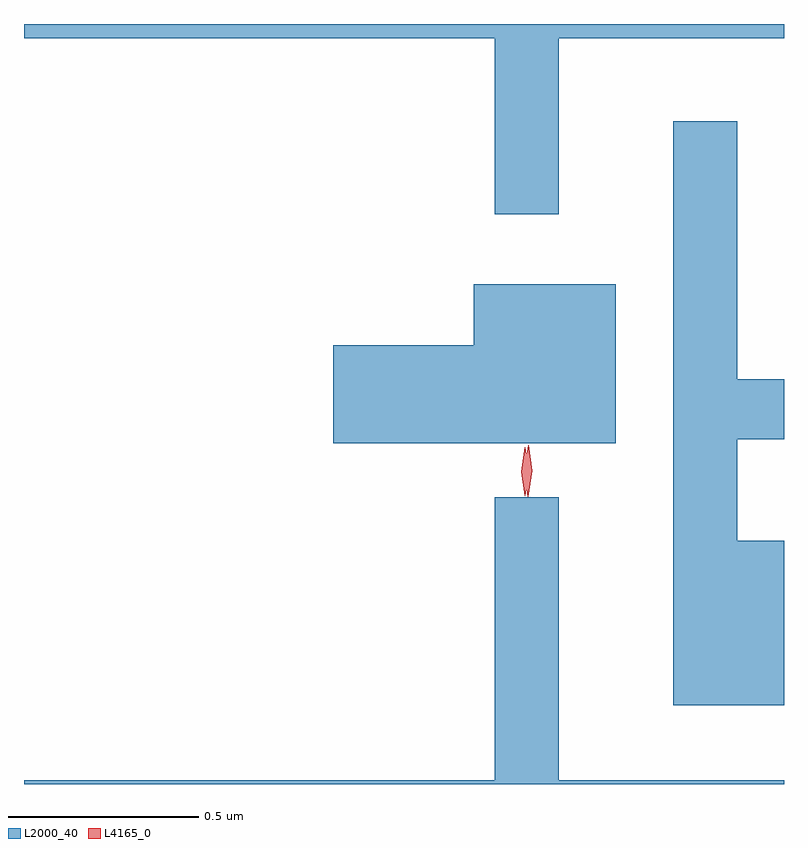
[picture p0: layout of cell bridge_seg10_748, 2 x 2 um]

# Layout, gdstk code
import gdstk
lib = gdstk.Library(unit=1e-6, precision=1e-09)
def P(c, l, *ps):  # polygons
    for p in ps: c.add(gdstk.Polygon(p, *l))
L2000_40 = (2000, 40)
L4165_0 = (4165, 0)

bridge_seg10_748 = lib.new_cell('bridge_seg10_748')
P(bridge_seg10_748, L2000_40, [(860.059,2138.336),(860.652,2138.336),(860.652,2138.374),(858.652,2138.374),(858.652,2138.336),(859.891,2138.336),(859.891,2137.873),(860.059,2137.873)],
  [(860.652,2137.014),(860.529,2137.014),(860.529,2137.281),(860.652,2137.281),(860.652,2137.439),(860.529,2137.439),(860.529,2138.118),(860.361,2138.118),(860.361,2136.581),(860.652,2136.581)],
  [(860.209,2137.689),(859.836,2137.689),(859.836,2137.529),(859.466,2137.529),(859.466,2137.271),(860.209,2137.271)],
  [(860.652,2136.384),(860.059,2136.384),(860.059,2137.128),(859.891,2137.128),(859.891,2136.384),(858.652,2136.384),(858.652,2136.374),(860.652,2136.374)])
P(bridge_seg10_748, L4165_0, [(859.97,2137.133),(859.96,2137.196),(859.97,2137.26),(859.97,2137.26),(859.971,2137.26),(859.98,2137.196),(859.971,2137.133),(859.971,2137.133)],
  [(859.978,2137.13),(859.978,2137.13),(859.969,2137.198),(859.979,2137.265),(859.98,2137.266),(859.98,2137.265),(859.989,2137.198),(859.979,2137.13)])

lib.write_gds('bridge_seg10_748.gds')
